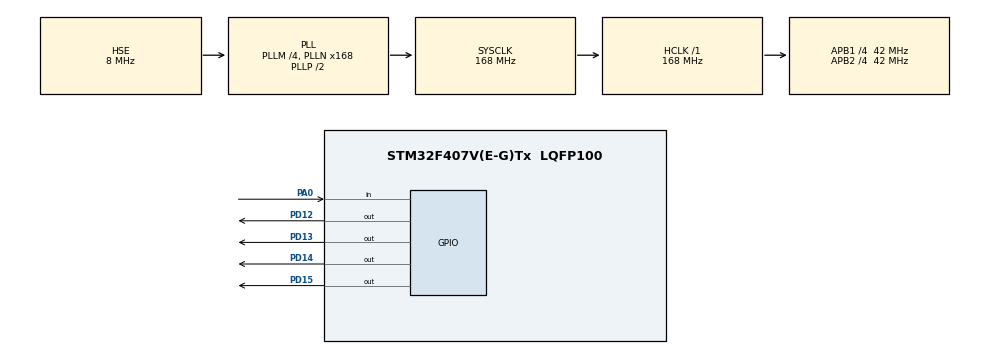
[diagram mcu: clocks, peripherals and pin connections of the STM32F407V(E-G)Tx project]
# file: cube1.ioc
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Mcu.Family=STM32F4
Mcu.Name=STM32F407V(E-G)Tx
Mcu.Package=LQFP100
NVIC.PriorityGroup=NVIC_PRIORITYGROUP_4
PA0-WKUP.Signal=GPIO_Input
PD12.Signal=GPIO_Output
PD13.Signal=GPIO_Output
PD14.Signal=GPIO_Output
PD15.Signal=GPIO_Output
PH0-OSC_IN.Mode=HSE-External-Oscillator
PH0-OSC_IN.Signal=RCC_OSC_IN
PH1-OSC_OUT.Mode=HSE-External-Oscillator
PH1-OSC_OUT.Signal=RCC_OSC_OUT
ProjectManager.HeapSize=0x200
ProjectManager.StackSize=0x400
ProjectManager.TargetToolchain=MDK-ARM V5
RCC.48MHZClocksFreq_Value=84000000
RCC.AHBFreq_Value=168000000
RCC.APB1CLKDivider=RCC_HCLK_DIV4
RCC.APB1Freq_Value=42000000
RCC.APB1TimFreq_Value=84000000
RCC.APB2CLKDivider=RCC_HCLK_DIV4
RCC.APB2Freq_Value=42000000
RCC.APB2TimFreq_Value=84000000
RCC.CortexFreq_Value=168000000
RCC.HCLKFreq_Value=168000000
RCC.HSE_VALUE=8000000
RCC.HSI_VALUE=16000000
RCC.LSE_VALUE=32768
RCC.PLLM=4
RCC.PLLN=168
RCC.PLLSourceVirtual=RCC_PLLSOURCE_HSE
RCC.SYSCLKFreq_VALUE=168000000
RCC.SYSCLKSource=RCC_SYSCLKSOURCE_PLLCLK
RCC.VCOOutputFreq_Value=336000000
board=cube1

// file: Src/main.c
/**
  ******************************************************************************
  * File Name          : main.c
  * Description        : Main program body
  ******************************************************************************
  *
  * COPYRIGHT(c) 2017 STMicroelectronics
  *
  * Redistribution and use in source and binary forms, with or without modification,
  * are permitted provided that the following conditions are met:
  *   1. Redistributions of source code must retain the above copyright notice,
  *      this list of conditions and the following disclaimer.
  *   2. Redistributions in binary form must reproduce the above copyright notice,
  *      this list of conditions and the following disclaimer in the documentation
  *      and/or other materials provided with the distribution.
  *   3. Neither the name of STMicroelectronics nor the names of its contributors
  *      may be used to endorse or promote products derived from this software
  *      without specific prior written permission.
  *
  * THIS SOFTWARE IS PROVIDED BY THE COPYRIGHT HOLDERS AND CONTRIBUTORS "AS IS"
  * AND ANY EXPRESS OR IMPLIED WARRANTIES, INCLUDING, BUT NOT LIMITED TO, THE
  * IMPLIED WARRANTIES OF MERCHANTABILITY AND FITNESS FOR A PARTICULAR PURPOSE ARE
  * DISCLAIMED. IN NO EVENT SHALL THE COPYRIGHT HOLDER OR CONTRIBUTORS BE LIABLE
  * FOR ANY DIRECT, INDIRECT, INCIDENTAL, SPECIAL, EXEMPLARY, OR CONSEQUENTIAL
  * DAMAGES (INCLUDING, BUT NOT LIMITED TO, PROCUREMENT OF SUBSTITUTE GOODS OR
  * SERVICES; LOSS OF USE, DATA, OR PROFITS; OR BUSINESS INTERRUPTION) HOWEVER
  * CAUSED AND ON ANY THEORY OF LIABILITY, WHETHER IN CONTRACT, STRICT LIABILITY,
  * OR TORT (INCLUDING NEGLIGENCE OR OTHERWISE) ARISING IN ANY WAY OUT OF THE USE
  * OF THIS SOFTWARE, EVEN IF ADVISED OF THE POSSIBILITY OF SUCH DAMAGE.
  *
  ******************************************************************************
  */
#include "main.h"
#include "stm32f4xx_hal.h"

/* USER CODE BEGIN PV */
/* Private variables ---------------------------------------------------------*/

/* USER CODE END PV */

void SystemClock_Config(void);
void Error_Handler(void);
static void MX_GPIO_Init(void);

/* USER CODE BEGIN PFP */
/* Private function prototypes -----------------------------------------------*/

/* USER CODE END PFP */

int main(void)
{

  /* MCU Configuration----------------------------------------------------------*/

  /* Reset of all peripherals, Initializes the Flash interface and the Systick. */
  HAL_Init();

  /* Configure the system clock */
  SystemClock_Config();

  /* Initialize all configured peripherals */
  MX_GPIO_Init();

  /* Infinite loop */
  while (1)
  {

  /* USER CODE BEGIN 3 */
		if(HAL_GPIO_ReadPin(GPIOA,GPIO_PIN_0)==GPIO_PIN_SET)
		{
			HAL_GPIO_TogglePin (GPIOD, GPIO_PIN_12);
			HAL_Delay(500);
		 HAL_GPIO_TogglePin (GPIOD, GPIO_PIN_12);
		HAL_GPIO_TogglePin (GPIOD, GPIO_PIN_13);
		HAL_Delay(500);
		 HAL_GPIO_TogglePin (GPIOD, GPIO_PIN_13);
		HAL_GPIO_TogglePin (GPIOD, GPIO_PIN_14);
		HAL_Delay(500);
		 HAL_GPIO_TogglePin (GPIOD, GPIO_PIN_14);
		HAL_GPIO_TogglePin (GPIOD, GPIO_PIN_15);
		HAL_Delay(500);
		 HAL_GPIO_TogglePin (GPIOD, GPIO_PIN_15);

		}
		else{

			 HAL_GPIO_WritePin(GPIOD, GPIO_PIN_12|GPIO_PIN_13|GPIO_PIN_14|GPIO_PIN_15, GPIO_PIN_RESET);

		}

  }
  /* USER CODE END 3 */

}

/** System Clock Configuration
*/
void SystemClock_Config(void)
{

  RCC_OscInitTypeDef RCC_OscInitStruct;
  RCC_ClkInitTypeDef RCC_ClkInitStruct;

    /**Configure the main internal regulator output voltage
    */
  __HAL_RCC_PWR_CLK_ENABLE();

  __HAL_PWR_VOLTAGESCALING_CONFIG(PWR_REGULATOR_VOLTAGE_SCALE1);

    /**Initializes the CPU, AHB and APB busses clocks
    */
  RCC_OscInitStruct.OscillatorType = RCC_OSCILLATORTYPE_HSE;
  RCC_OscInitStruct.HSEState = RCC_HSE_ON;
  RCC_OscInitStruct.PLL.PLLState = RCC_PLL_ON;
  RCC_OscInitStruct.PLL.PLLSource = RCC_PLLSOURCE_HSE;
  RCC_OscInitStruct.PLL.PLLM = 4;
  RCC_OscInitStruct.PLL.PLLN = 168;
  RCC_OscInitStruct.PLL.PLLP = RCC_PLLP_DIV2;
  RCC_OscInitStruct.PLL.PLLQ = 4;
  if (HAL_RCC_OscConfig(&RCC_OscInitStruct) != HAL_OK)
  {
    Error_Handler();
  }

    /**Initializes the CPU, AHB and APB busses clocks
    */
  RCC_ClkInitStruct.ClockType = RCC_CLOCKTYPE_HCLK|RCC_CLOCKTYPE_SYSCLK
                              |RCC_CLOCKTYPE_PCLK1|RCC_CLOCKTYPE_PCLK2;
  RCC_ClkInitStruct.SYSCLKSource = RCC_SYSCLKSOURCE_PLLCLK;
  RCC_ClkInitStruct.AHBCLKDivider = RCC_SYSCLK_DIV1;
  RCC_ClkInitStruct.APB1CLKDivider = RCC_HCLK_DIV4;
  RCC_ClkInitStruct.APB2CLKDivider = RCC_HCLK_DIV4;

  if (HAL_RCC_ClockConfig(&RCC_ClkInitStruct, FLASH_LATENCY_5) != HAL_OK)
  {
    Error_Handler();
  }

    /**Configure the Systick interrupt time
    */
  HAL_SYSTICK_Config(HAL_RCC_GetHCLKFreq()/1000);

    /**Configure the Systick
    */
  HAL_SYSTICK_CLKSourceConfig(SYSTICK_CLKSOURCE_HCLK);

  /* SysTick_IRQn interrupt configuration */
  HAL_NVIC_SetPriority(SysTick_IRQn, 0, 0);
}

/** Configure pins as
        * Analog
        * Input
        * Output
        * EVENT_OUT
        * EXTI
*/
static void MX_GPIO_Init(void)
{

  GPIO_InitTypeDef GPIO_InitStruct;

  /* GPIO Ports Clock Enable */
  __HAL_RCC_GPIOH_CLK_ENABLE();
  __HAL_RCC_GPIOA_CLK_ENABLE();
  __HAL_RCC_GPIOD_CLK_ENABLE();

  /*Configure GPIO pin Output Level */
  HAL_GPIO_WritePin(GPIOD, GPIO_PIN_12|GPIO_PIN_13|GPIO_PIN_14|GPIO_PIN_15, GPIO_PIN_RESET);

  /*Configure GPIO pin : PA0 */
  GPIO_InitStruct.Pin = GPIO_PIN_0;
  GPIO_InitStruct.Mode = GPIO_MODE_INPUT;
  GPIO_InitStruct.Pull = GPIO_NOPULL;
  HAL_GPIO_Init(GPIOA, &GPIO_InitStruct);

  /*Configure GPIO pins : PD12 PD13 PD14 PD15 */
  GPIO_InitStruct.Pin = GPIO_PIN_12|GPIO_PIN_13|GPIO_PIN_14|GPIO_PIN_15;
  GPIO_InitStruct.Mode = GPIO_MODE_OUTPUT_PP;
  GPIO_InitStruct.Pull = GPIO_NOPULL;
  GPIO_InitStruct.Speed = GPIO_SPEED_FREQ_LOW;
  HAL_GPIO_Init(GPIOD, &GPIO_InitStruct);

}

void Error_Handler(void)
{
  while(1)
  {
  }
}

/************************ (C) COPYRIGHT STMicroelectronics *****END OF FILE****/
